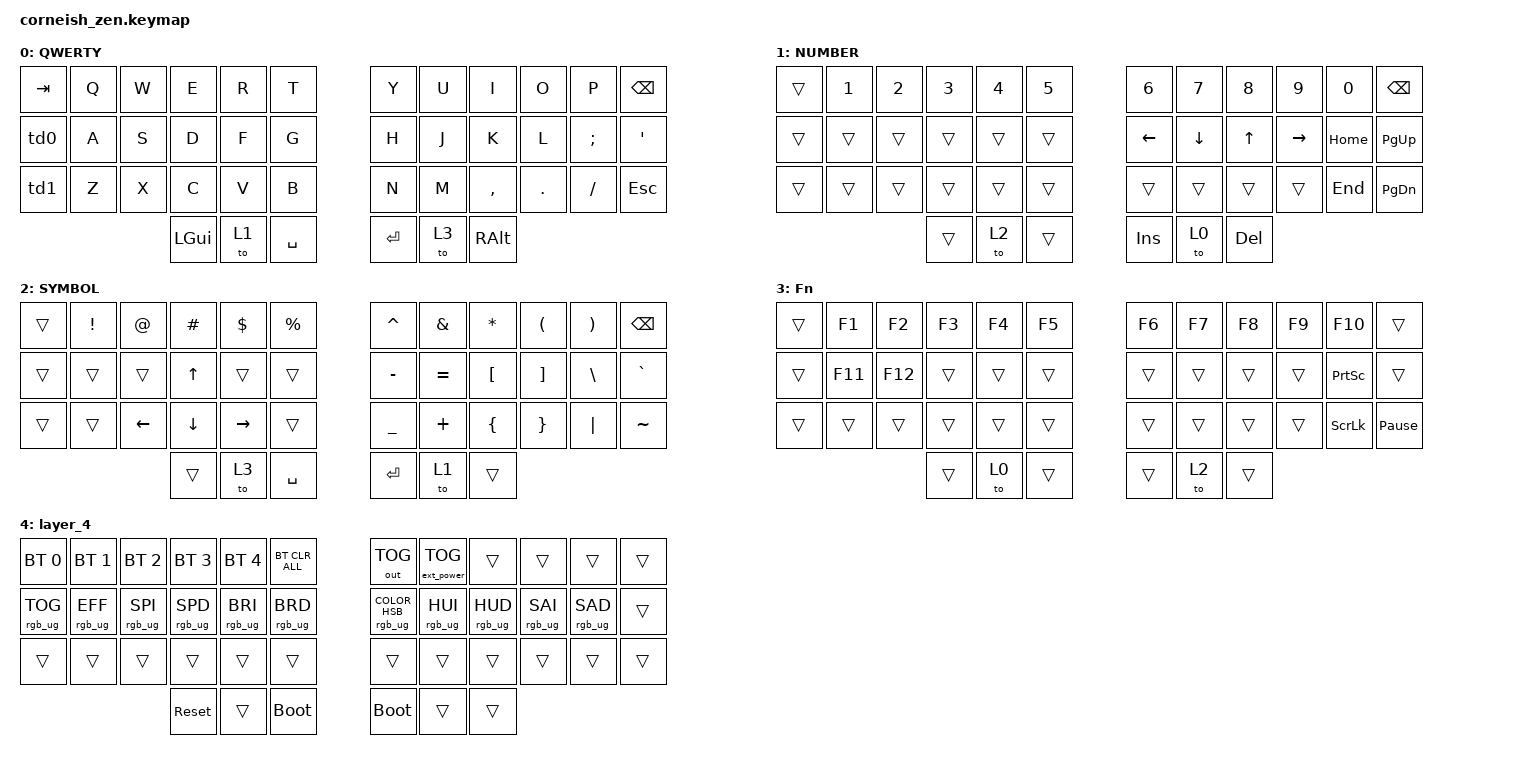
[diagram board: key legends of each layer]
/*
 * Copyright (c) 2020 The ZMK Contributors
 *
 * SPDX-License-Identifier: MIT
 */

#include <behaviors.dtsi>
#include <dt-bindings/zmk/bt.h>
#include <dt-bindings/zmk/ext_power.h>
#include <dt-bindings/zmk/keys.h>
#include <dt-bindings/zmk/outputs.h>
#include <dt-bindings/zmk/rgb.h>

/ {
    chosen {
        zmk,matrix_transform = &default_transform;

        // zmk,matrix_transform = &five_column_transform;
    };
};

/ {
    behaviors {
        td0: td0 {
            compatible = "zmk,behavior-tap-dance";
            label = "TD0";
            #binding-cells = <0>;
            bindings = <&kp LEFT_SHIFT>, <&kp CAPS>;

            tapping-term-ms = <500>;
        };

        td1: td1 {
            compatible = "zmk,behavior-tap-dance";
            label = "TD1";
            #binding-cells = <0>;
            bindings = <&kp LEFT_CONTROL>, <&kp LEFT_ALT>;

            tapping-term-ms = <500>;
        };
    };

    combos {
        compatible = "zmk,combos";

        Settings {
            bindings = <&tog 4>;
            key-positions = <37 40>;
        };
    };

    keymap {
        compatible = "zmk,keymap";

        default_layer {
            display-name = "QWERTY";

            // --------------------------------------------------------------------------------
            // |  TAB |  Q  |  W  |  E  |  R  |  T  |   |  Y  |  U   |  I  |  O  |  P  | BKSP |
            // | CTRL |  A  |  S  |  D  |  F  |  G  |   |  H  |  J   |  K  |  L  |  ;  |  '   | 
            // | SHFT |  Z  |  X  |  C  |  V  |  B  |   |  N  |  M   |  ,  |  .  |  /  | ESC  |
            //                    | GUI | LWR | SPC |   | ENT | RSE  | ALT |

            bindings = <
&kp TAB  &kp Q  &kp W  &kp E     &kp R  &kp T        &kp Y      &kp U  &kp I      &kp O    &kp P     &kp BSPC
&td0     &kp A  &kp S  &kp D     &kp F  &kp G        &kp H      &kp J  &kp K      &kp L    &kp SEMI  &kp SQT
&td1     &kp Z  &kp X  &kp C     &kp V  &kp B        &kp N      &kp M  &kp COMMA  &kp DOT  &kp FSLH  &kp ESC
                       &kp LGUI  &to 1  &kp SPACE    &kp ENTER  &to 3  &kp RALT
            >;
        };

        lower_layer {
            display-name = "NUMBER";

            // -----------------------------------------------------------------------------------------
            // |  TAB |  1  |  2  |  3  |  4  |  5  |   |  6  |  7  |  8  |  9  |  0  | BKSP |
            // | BTCLR| BT1 | BT2 | BT3 | BT4 | BT5 |   | LFT | DWN |  UP | RGT |     |      |
            // | SHFT |     |     |     |     |     |   |     |     |     |     |     |      |
            //                    | GUI |     | SPC |   | ENT |     | ALT |

            bindings = <
&trans  &kp N1  &kp N2  &kp N3  &kp N4  &kp N5    &kp N6    &kp N7    &kp N8   &kp N9     &kp N0    &kp BSPC
&trans  &trans  &trans  &trans  &trans  &trans    &kp LEFT  &kp DOWN  &kp UP   &kp RIGHT  &kp HOME  &kp PG_UP
&trans  &trans  &trans  &trans  &trans  &trans    &trans    &trans    &trans   &trans     &kp END   &kp PG_DN
                        &trans  &to 2   &trans    &kp INS   &to 0     &kp DEL
            >;
        };

        raise_layer {
            display-name = "SYMBOL";

            // -----------------------------------------------------------------------------------------
            // |  TAB |  !  |  @  |  #  |  $  |  %  |   |  ^  |  &  |  *  |  (  |  )  | BKSP |
            // | CTRL |     |     |     |     |     |   |  -  |  =  |  [  |  ]  |  \  |  `   |
            // | SHFT |     |     |     |     |     |   |  _  |  +  |  {  |  }  | "|" |  ~   |
            //                    | GUI |     | SPC |   | ENT |     | ALT |

            bindings = <
&trans  &kp EXCL  &kp AT    &kp HASH        &kp DLLR         &kp PRCNT    &kp CARET  &kp AMPS   &kp ASTRK  &kp LPAR  &kp RPAR  &kp BSPC
&trans  &trans    &trans    &kp UP_ARROW    &trans           &trans       &kp MINUS  &kp EQUAL  &kp LBKT   &kp RBKT  &kp BSLH  &kp GRAVE
&trans  &trans    &kp LEFT  &kp DOWN_ARROW  &kp RIGHT_ARROW  &trans       &kp UNDER  &kp PLUS   &kp LBRC   &kp RBRC  &kp PIPE  &kp TILDE
                            &trans          &to 3            &kp SPACE    &kp RET    &to 1      &trans
            >;
        };

        layer_3 {
            display-name = "Fn";
            bindings = <
&trans  &kp F1   &kp F2   &kp F3  &kp F4  &kp F5    &kp F6  &kp F7  &kp F8  &kp F9  &kp F10          &trans
&trans  &kp F11  &kp F12  &trans  &trans  &trans    &trans  &trans  &trans  &trans  &kp PRINTSCREEN  &trans
&trans  &trans   &trans   &trans  &trans  &trans    &trans  &trans  &trans  &trans  &kp SCROLLLOCK   &kp PAUSE_BREAK
                          &trans  &to 0   &trans    &trans  &to 2   &trans
            >;
        };

        layer_4 {
            bindings = <
&bt BT_SEL 0     &bt BT_SEL 1     &bt BT_SEL 2     &bt BT_SEL 3     &bt BT_SEL 4     &bt BT_CLR_ALL     &out OUT_TOG                       &ext_power EP_TOG  &trans           &trans           &trans           &trans
&rgb_ug RGB_TOG  &rgb_ug RGB_EFF  &rgb_ug RGB_SPI  &rgb_ug RGB_SPD  &rgb_ug RGB_BRI  &rgb_ug RGB_BRD    &rgb_ug RGB_COLOR_HSB(242,100,50)  &rgb_ug RGB_HUI    &rgb_ug RGB_HUD  &rgb_ug RGB_SAI  &rgb_ug RGB_SAD  &trans
&trans           &trans           &trans           &trans           &trans           &trans             &trans                             &trans             &trans           &trans           &trans           &trans
                                                   &sys_reset       &trans           &bootloader        &bootloader                        &trans             &trans
            >;
        };
    };
};
